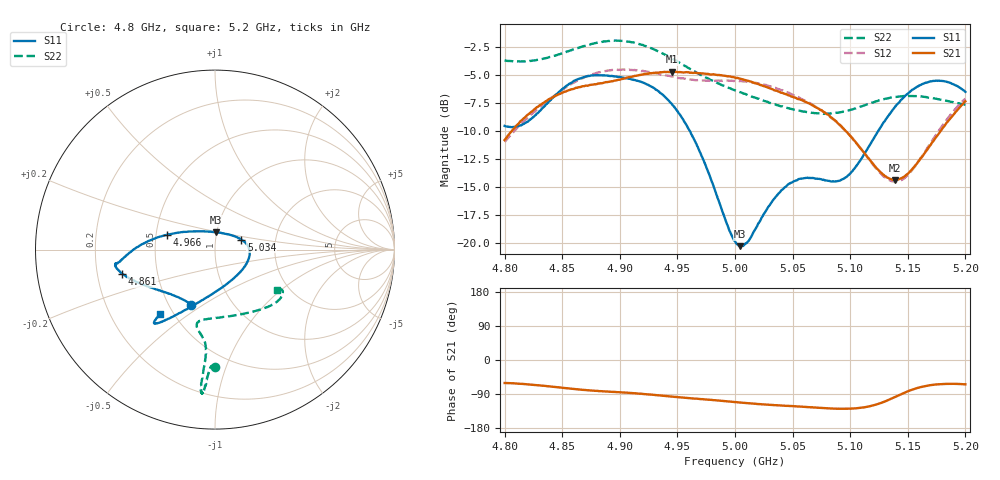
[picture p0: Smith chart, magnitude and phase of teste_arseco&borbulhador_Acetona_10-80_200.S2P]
! Network Analyzer HP8722D
! Hewlett-Packard
! Data name: Linha & Wilkinson
! Saver's name: Rodrigo Anjos
! Comments: Teste da utilização de aquisição
! continua pelo VNA HP8722D
! Time and date: 17/4/2025 16:01
!  Frequency  S11  S21  S12  S22
# HZ  S  MA R 50
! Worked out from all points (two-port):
!   401 points, 4.8 GHz to 5.2 GHz, reference 50 ohm
!   highest |S21| = -4.69 dB at 4.945 GHz (marker M1); lowest = -14.4 dB at 5.139 GHz (marker M2)
!   |S21| within 3 dB of the highest: 4.83 GHz to 5.067 GHz (236.8 MHz wide, 4.78 % of centre); 5.196661 GHz to end of sweep
!   lowest |S11| = -20.3 dB at 5.004 GHz (marker M3), VSWR 1.21, Z = 49.5 + j9.62 ohm
!   |S11| at or under -10 dB: 4.961 GHz to 5.124 GHz (163.3 MHz wide, 3.24 % of centre)
!   |S22| runs from -8.5 to -1.9 dB; largest |S21 - S12| = 0.88
!   S11 on the Smith chart (normalised r, x): 4.8 GHz: 0.65, -0.45; 4.861 GHz: 0.31, -0.12; 4.966 GHz: 0.57, +0.10; 5.034 GHz: 1.34, +0.15; 5.2 GHz: 0.42, -0.39
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4.8e9  0.3336 -113.2  0.2884 -60.7  0.2825 -175.0  0.656 -90.0
4.819e9  0.3466 -133.2  0.3704 -64.1  0.3584 -173.5  0.6507 -91.6
4.861e9  0.5335 -165.3  0.4921 -76.7  0.5243 -176.5  0.7374 -93.8
4.867e9  0.548 -167.6  0.5015 -78.7  0.5443 -177.7  0.756 -94.0
4.9e9  0.5531 -172.2  0.5375 -85.1  0.5961 175.7  0.8032 -95.4
4.934e9  0.4753 -178.0  0.5777 -93.4  0.5713 171.9  0.7162 -95.7
4.945e9  0.4194 176.8  0.583 -96.6  0.5557 172.0  0.6702 -95.4
4.966e9  0.2799 162.9  0.5764 -101.8  0.5343 173.7  0.5808 -94.9
5e9  0.1014 101.9  0.5487 -111.1  0.5319 176.2  0.4818 -99.1
5.004e9  0.09643 87.6  0.5437 -112.0  0.5293 176.2  0.4734 -100.0
5.012e9  0.1022 61.2  0.5303 -114.1  0.5247 175.9  0.4572 -101.7
5.034e9  0.1573 20.7  0.4819 -119.2  0.4955 174.9  0.4172 -103.4
5.049e9  0.1857 5.6  0.4513 -121.5  0.4629 174.3  0.3974 -99.9
5.067e9  0.195 -13.7  0.4134 -124.8  0.4152 173.7  0.3817 -90.8
5.086e9  0.1882 -43.8  0.3554 -128.3  0.3549 173.8  0.3806 -76.4
5.097e9  0.1972 -66.3  0.3133 -128.8  0.314 174.5  0.3897 -67.3
5.134e9  0.3755 -116.4  0.1937 -104.4  0.1908 -157.3  0.4458 -43.1
5.139e9  0.4062 -119.4  0.1908 -97.3  0.1879 -149.3  0.4498 -40.7
5.151e9  0.47 -124.4  0.2059 -81.3  0.2037 -130.9  0.4546 -36.4
5.17e9  0.5286 -128.8  0.275 -66.2  0.2807 -112.4  0.4458 -31.9
5.184e9  0.5254 -130.1  0.3463 -63.0  0.3572 -107.2  0.4316 -31.0
5.2e9  0.4741 -130.5  0.4298 -64.3  0.4419 -106.4  0.4147 -33.3
